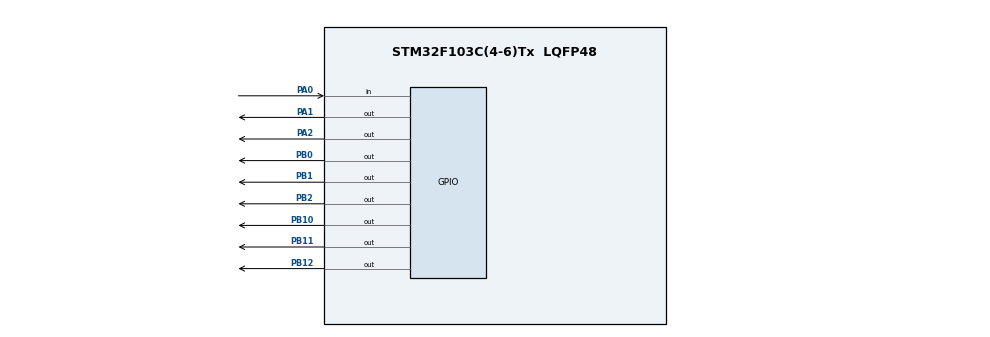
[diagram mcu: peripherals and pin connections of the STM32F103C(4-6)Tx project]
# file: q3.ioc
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Mcu.Family=STM32F1
Mcu.Name=STM32F103C(4-6)Tx
Mcu.Package=LQFP48
NVIC.PriorityGroup=NVIC_PRIORITYGROUP_4
NVIC.TIM3_IRQn=true\:0\:0\:false\:false\:true\:true\:true\:true
PA0-WKUP.Signal=GPIO_Input
PA1.Signal=GPIO_Output
PA2.Signal=GPIO_Output
PB0.Signal=GPIO_Output
PB1.Signal=GPIO_Output
PB10.Signal=GPIO_Output
PB11.Signal=GPIO_Output
PB12.Signal=GPIO_Output
PB2.Signal=GPIO_Output
ProjectManager.HeapSize=0x200
ProjectManager.StackSize=0x400
ProjectManager.TargetToolchain=STM32CubeIDE
RCC.APB1Freq_Value=8000000
RCC.APB2Freq_Value=8000000
TIM3.Period=2599
TIM3.Prescaler=9999
VP_SYS_VS_ND.Mode=No_Debug
VP_TIM3_VS_ClockSourceINT.Mode=Internal
board=custom

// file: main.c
/* USER CODE BEGIN Header */
/**
  ******************************************************************************
  * @file           : main.c
  * @brief          : Main program body
  ******************************************************************************
  * @attention
  *
  * Copyright (c) 2026 STMicroelectronics.
  * All rights reserved.
  *
  * This software is licensed under terms that can be found in the LICENSE file
  * in the root directory of this software component.
  * If no LICENSE file comes with this software, it is provided AS-IS.
  *
  ******************************************************************************
  */
/* USER CODE END Header */
#include "main.h"

TIM_HandleTypeDef htim3;

void SystemClock_Config(void);
static void MX_GPIO_Init(void);
static void MX_TIM3_Init(void);

/* USER CODE BEGIN 0 */
#include "lcd.h"
#include <stdio.h>
int countdown = 15;
uint8_t is_running = 0;
Lcd_PortType port[] = {GPIOB, GPIOB, GPIOB, GPIOB};
Lcd_PinType pin[] = {GPIO_PIN_0, GPIO_PIN_1, GPIO_PIN_2, GPIO_PIN_10};
Lcd_PortType rs_port = GPIOB;
Lcd_PinType rs_pin = GPIO_PIN_11;
Lcd_PortType e_port = GPIOB;
Lcd_PinType e_pin = GPIO_PIN_12;
Lcd_HandleTypeDef lcd;
/* USER CODE END 0 */

int main(void)
{

  /* MCU Configuration--------------------------------------------------------*/

  /* Reset of all peripherals, Initializes the Flash interface and the Systick. */
  HAL_Init();

  /* Configure the system clock */
  SystemClock_Config();

  /* Initialize all configured peripherals */
  MX_GPIO_Init();
  MX_TIM3_Init();
  /* USER CODE BEGIN 2 */
  lcd = Lcd_create(port, pin, rs_port, rs_pin, e_port, e_pin, LCD_4_BIT_MODE);
  Lcd_init(&lcd);
  HAL_TIM_Base_Start_IT(&htim3);
  /* USER CODE END 2 */

  /* Infinite loop */
  while (1)
  {
	  if (HAL_GPIO_ReadPin(GPIOA, GPIO_PIN_0) == GPIO_PIN_SET) {
	          is_running = 1;
	      } else {
	          // If LogicState is 0, reset everything!
	          is_running = 0;
	          countdown = 15;
	          HAL_GPIO_WritePin(GPIOA, GPIO_PIN_1, GPIO_PIN_RESET); // LED OFF
	          HAL_GPIO_WritePin(GPIOA, GPIO_PIN_2, GPIO_PIN_RESET); // Buzzer OFF
	      }

	      char buffer[16];
	      Lcd_cursor(&lcd, 0, 0);
	      Lcd_string(&lcd, "Status:         ");
	      Lcd_cursor(&lcd, 0, 8);

	      if (is_running) Lcd_string(&lcd, "Running");
	      else Lcd_string(&lcd, "Stopped");

	      Lcd_cursor(&lcd, 1, 0);
	      sprintf(buffer, "Time: %02d sec   ", countdown);
	      Lcd_string(&lcd, buffer);

	      HAL_Delay(100);
  }
}

void SystemClock_Config(void)
{
  RCC_OscInitTypeDef RCC_OscInitStruct = {0};
  RCC_ClkInitTypeDef RCC_ClkInitStruct = {0};

  /** Initializes the RCC Oscillators according to the specified parameters
  * in the RCC_OscInitTypeDef structure.
  */
  RCC_OscInitStruct.OscillatorType = RCC_OSCILLATORTYPE_HSI;
  RCC_OscInitStruct.HSIState = RCC_HSI_ON;
  RCC_OscInitStruct.HSICalibrationValue = RCC_HSICALIBRATION_DEFAULT;
  RCC_OscInitStruct.PLL.PLLState = RCC_PLL_NONE;
  if (HAL_RCC_OscConfig(&RCC_OscInitStruct) != HAL_OK)
  {
    Error_Handler();
  }

  /** Initializes the CPU, AHB and APB buses clocks
  */
  RCC_ClkInitStruct.ClockType = RCC_CLOCKTYPE_HCLK|RCC_CLOCKTYPE_SYSCLK
                              |RCC_CLOCKTYPE_PCLK1|RCC_CLOCKTYPE_PCLK2;
  RCC_ClkInitStruct.SYSCLKSource = RCC_SYSCLKSOURCE_HSI;
  RCC_ClkInitStruct.AHBCLKDivider = RCC_SYSCLK_DIV1;
  RCC_ClkInitStruct.APB1CLKDivider = RCC_HCLK_DIV1;
  RCC_ClkInitStruct.APB2CLKDivider = RCC_HCLK_DIV1;

  if (HAL_RCC_ClockConfig(&RCC_ClkInitStruct, FLASH_LATENCY_0) != HAL_OK)
  {
    Error_Handler();
  }
}

static void MX_TIM3_Init(void)
{

  TIM_ClockConfigTypeDef sClockSourceConfig = {0};
  TIM_MasterConfigTypeDef sMasterConfig = {0};

  htim3.Instance = TIM3;
  htim3.Init.Prescaler = 9999;
  htim3.Init.CounterMode = TIM_COUNTERMODE_UP;
  htim3.Init.Period = 2599;
  htim3.Init.ClockDivision = TIM_CLOCKDIVISION_DIV1;
  htim3.Init.AutoReloadPreload = TIM_AUTORELOAD_PRELOAD_DISABLE;
  if (HAL_TIM_Base_Init(&htim3) != HAL_OK)
  {
    Error_Handler();
  }
  sClockSourceConfig.ClockSource = TIM_CLOCKSOURCE_INTERNAL;
  if (HAL_TIM_ConfigClockSource(&htim3, &sClockSourceConfig) != HAL_OK)
  {
    Error_Handler();
  }
  sMasterConfig.MasterOutputTrigger = TIM_TRGO_RESET;
  sMasterConfig.MasterSlaveMode = TIM_MASTERSLAVEMODE_DISABLE;
  if (HAL_TIMEx_MasterConfigSynchronization(&htim3, &sMasterConfig) != HAL_OK)
  {
    Error_Handler();
  }

}

static void MX_GPIO_Init(void)
{
  GPIO_InitTypeDef GPIO_InitStruct = {0};

  /* GPIO Ports Clock Enable */
  __HAL_RCC_GPIOA_CLK_ENABLE();
  __HAL_RCC_GPIOB_CLK_ENABLE();

  /*Configure GPIO pin Output Level */
  HAL_GPIO_WritePin(GPIOA, GPIO_PIN_1|GPIO_PIN_2, GPIO_PIN_RESET);

  /*Configure GPIO pin Output Level */
  HAL_GPIO_WritePin(GPIOB, GPIO_PIN_0|GPIO_PIN_1|GPIO_PIN_2|GPIO_PIN_10
                          |GPIO_PIN_11|GPIO_PIN_12, GPIO_PIN_RESET);

  /*Configure GPIO pin : PA0 */
  GPIO_InitStruct.Pin = GPIO_PIN_0;
  GPIO_InitStruct.Mode = GPIO_MODE_INPUT;
  GPIO_InitStruct.Pull = GPIO_NOPULL;
  HAL_GPIO_Init(GPIOA, &GPIO_InitStruct);

  /*Configure GPIO pins : PA1 PA2 */
  GPIO_InitStruct.Pin = GPIO_PIN_1|GPIO_PIN_2;
  GPIO_InitStruct.Mode = GPIO_MODE_OUTPUT_PP;
  GPIO_InitStruct.Pull = GPIO_NOPULL;
  GPIO_InitStruct.Speed = GPIO_SPEED_FREQ_LOW;
  HAL_GPIO_Init(GPIOA, &GPIO_InitStruct);

  /*Configure GPIO pins : PB0 PB1 PB2 PB10
                           PB11 PB12 */
  GPIO_InitStruct.Pin = GPIO_PIN_0|GPIO_PIN_1|GPIO_PIN_2|GPIO_PIN_10
                          |GPIO_PIN_11|GPIO_PIN_12;
  GPIO_InitStruct.Mode = GPIO_MODE_OUTPUT_PP;
  GPIO_InitStruct.Pull = GPIO_NOPULL;
  GPIO_InitStruct.Speed = GPIO_SPEED_FREQ_LOW;
  HAL_GPIO_Init(GPIOB, &GPIO_InitStruct);

}

/* USER CODE BEGIN 4 */
void HAL_TIM_PeriodElapsedCallback(TIM_HandleTypeDef *htim)
{
    if (htim->Instance == TIM3) {
        if (is_running == 1) {
            if (countdown > 0) {
                countdown--;
                // Toggle LED and Buzzer every second
                HAL_GPIO_TogglePin(GPIOA, GPIO_PIN_1);
                HAL_GPIO_TogglePin(GPIOA, GPIO_PIN_2);
            }
            else if (countdown == 0) {
                // Time is up! Solid ON.
                HAL_GPIO_WritePin(GPIOA, GPIO_PIN_1, GPIO_PIN_SET);
                HAL_GPIO_WritePin(GPIOA, GPIO_PIN_2, GPIO_PIN_SET);
            }
        }
    }
}
/* USER CODE END 4 */

void Error_Handler(void)
{
  __disable_irq();
  while (1)
  {
  }
}
